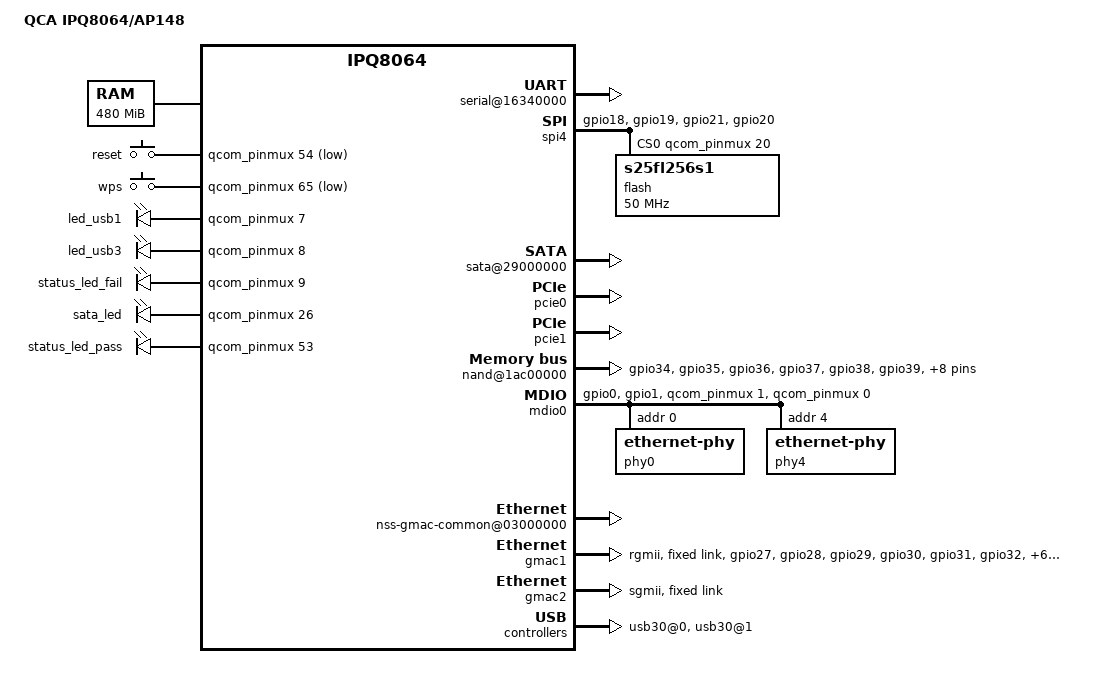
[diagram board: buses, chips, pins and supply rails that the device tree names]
/* Copyright (c) 2015,2016,2017, The Linux Foundation. All rights reserved.
 *
 * Permission to use, copy, modify, and/or distribute this software for any
 * purpose with or without fee is hereby granted, provided that the above
 * copyright notice and this permission notice appear in all copies.
 *
 * THE SOFTWARE IS PROVIDED "AS IS" AND THE AUTHOR DISCLAIMS ALL WARRANTIES
 * WITH REGARD TO THIS SOFTWARE INCLUDING ALL IMPLIED WARRANTIES OF
 * MERCHANTABILITY AND FITNESS. IN NO EVENT SHALL THE AUTHOR BE LIABLE FOR
 * ANY SPECIAL, DIRECT, INDIRECT, OR CONSEQUENTIAL DAMAGES OR ANY DAMAGES
 * WHATSOEVER RESULTING FROM LOSS OF USE, DATA OR PROFITS, WHETHER IN AN
 * ACTION OF CONTRACT, NEGLIGENCE OR OTHER TORTIOUS ACTION, ARISING OUT OF
 * OR IN CONNECTION WITH THE USE OR PERFORMANCE OF THIS SOFTWARE.
 *
 */
#include <dt-bindings/interrupt-controller/arm-gic.h>
#include <dt-bindings/interrupt-controller/irq.h>
#include <dt-bindings/input/input.h>
#include <dt-bindings/gpio/gpio.h>

/ {
	model = "QCA IPQ8064/AP148";
	compatible = "qcom,ipq8064-ap148", "qcom,ipq8064";

	aliases {
		serial0 = &uart4;
		mdio-gpio0 = &mdio0;
		/*
		 * U-Boot searches for these entries and patches
		 * 'local-mac-address'
		 */
		ethernet0 = &gmac1;
		ethernet1 = &gmac2;
	};

	chosen {
		stdout-path = "serial0:115200n8";
	};

	memory@0 {
		reg = <0x42000000 0x1e000000>;
		device_type = "memory";
	};

	reserved-memory {
		#address-cells = <1>;
		#size-cells = <1>;
		ranges;
		rsvd@41200000 {
			reg = <0x41200000 0x300000>;
			no-map;
		};
	};

	soc {
		pinmux@800000 {
			spi_pins: spi_pins {
				mux {
					pins = "gpio18", "gpio19";
					function = "gsbi5";
					drive-strength = <10>;
					bias-pull-down;
				};
				clk {
					pins = "gpio21";
					function = "gsbi5";
					drive-strength = <12>;
					bias-pull-down;
				};
				cs {
					pins = "gpio20";
					function = "gpio";
					drive-strength = <10>;
					bias-pull-up;
				};
			};
			nand_pins: nand_pins {
				mux {
					pins = "gpio34", "gpio35", "gpio36",
					       "gpio37", "gpio38", "gpio39",
					       "gpio40", "gpio41", "gpio42",
					       "gpio43", "gpio44", "gpio45",
					       "gpio46", "gpio47";
					function = "nand";
					drive-strength = <10>;
					bias-disable;
				};
				pullups {
					pins = "gpio39";
					bias-pull-up;
				};
				hold {
					pins = "gpio40", "gpio41", "gpio42",
					       "gpio43", "gpio44", "gpio45",
					       "gpio46", "gpio47";
					bias-bus-hold;
				};
			};

			mdio0_pins: mdio0_pins {
				mux {
					pins = "gpio0", "gpio1";
					function = "gpio";
					drive-strength = <8>;
					bias-disable;
				};
			};

			rgmii2_pins: rgmii2_pins {
				mux {
					pins = "gpio27", "gpio28", "gpio29",
						"gpio30", "gpio31", "gpio32",
						"gpio51", "gpio52", "gpio59",
						"gpio60", "gpio61", "gpio62";
					function = "rgmii2";
					drive-strength = <8>;
					bias-disable;
				};
			};

			leds_pins: leds_pins {
				mux {
					pins = "gpio7", "gpio8", "gpio9",
					       "gpio26", "gpio53";
					function = "gpio";
					drive-strength = <2>;
					bias-pull-down;
					output-low;
				};
			};

			buttons_pins: buttons_pins {
				mux {
					pins = "gpio54", "gpio65";
					drive-strength = <2>;
					bias-pull-up;
				};
			};

			voip_pins: voip_pins {
				mux_1 {
					pins = "gpio14", "gpio15",
						"gpio16", "gpio17";
					function = "audio_pcm";
					drive-strength = <8>;
					bias-pull-up;
				};
			};
		};

		gsbi@16300000 {
			qcom,mode = <GSBI_PROT_I2C_UART>;
			status = "ok";
			serial@16340000 {
				status = "ok";
			};
			/*
			 * The i2c device on gsbi4 should not be enabled.
			 * On ipq806x designs gsbi4 i2c is meant for exclusive
			 * RPM usage. Turning this on in kernel manifests as
			 * i2c failure for the RPM.
			 */
		};

		gsbi5: gsbi@1a200000 {
			qcom,mode = <GSBI_PROT_SPI>;
			status = "ok";

			spi4: spi@1a280000 {
				status = "ok";
				spi-max-frequency = <50000000>;

				pinctrl-0 = <&spi_pins>;
				pinctrl-names = "default";

				cs-gpios = <&qcom_pinmux 20 0>;
				dmas = <&adm_dma 6>, <&adm_dma 5>;
				dma-names = "rx", "tx";
				qcom,rx-crci = <9>;
				qcom,tx-crci = <10>;

				flash: m25p80@0 {
					compatible = "s25fl256s1";
					#address-cells = <1>;
					#size-cells = <1>;
					spi-max-frequency = <50000000>;
					reg = <0>;

					m25p,fast-read;
				};
			};
		};

		sata-phy@1b400000 {
			status = "ok";
		};

		sata@29000000 {
			status = "ok";
		};

		pcie0: pci@1b500000 {
			status = "ok";
		};

		pcie1: pci@1b700000 {
			status = "ok";
			force_gen1 = <1>;
		};

		nand@1ac00000 {
			status = "ok";

			pinctrl-0 = <&nand_pins>;
			pinctrl-names = "default";

			nand-ecc-strength = <4>;
			nand-bus-width = <8>;
		};

		mdio0: mdio {
			compatible = "virtual,mdio-gpio";
			#address-cells = <1>;
			#size-cells = <0>;
			gpios = <&qcom_pinmux 1 0 &qcom_pinmux 0 0>;
			pinctrl-0 = <&mdio0_pins>;
			pinctrl-names = "default";

			phy0: ethernet-phy@0 {
				device_type = "ethernet-phy";
				reg = <0>;
				qca,ar8327-initvals = <
					0x00004 0x7600000   /* PAD0_MODE */
					0x00008 0x1000000   /* PAD5_MODE */
					0x0000c 0x80        /* PAD6_MODE */
					0x000e4 0xaa545     /* MAC_POWER_SEL */
					0x000e0 0xc74164de  /* SGMII_CTRL */
					0x0007c 0x4e        /* PORT0_STATUS */
					0x00094 0x4e        /* PORT6_STATUS */
					>;
				link-polling-required = <0>;
				link-intr-gpio = <2>;
			};

			phy4: ethernet-phy@4 {
				device_type = "ethernet-phy";
				reg = <4>;
			};
		};

		nss0: nss@40000000 {
			compatible = "qcom,nss";
			interrupts = <GIC_SPI 213 IRQ_TYPE_LEVEL_HIGH>,
				     <GIC_SPI 232 IRQ_TYPE_LEVEL_HIGH>;
			reg = <0x36000000 0x1000 0x39000000 0x10000>;
			reg-names = "nphys", "vphys";
			clocks = <&gcc NSS_CORE_CLK>, <&gcc NSSTCM_CLK_SRC>,
				 <&gcc NSSTCM_CLK>, <&nss_fabric0_clk>,
				 <&nss_fabric1_clk>;
			clock-names = "nss-core-clk", "nss-tcm-src",
				      "nss-tcm-clk", "nss-fab0-clk",
				      "nss-fab1-clk";
			resets = <&gcc UBI32_CORE1_CLKRST_CLAMP_RESET>,
				 <&gcc UBI32_CORE1_CLAMP_RESET>,
				 <&gcc UBI32_CORE1_AHB_RESET>,
				 <&gcc UBI32_CORE1_AXI_RESET>;
			reset-names = "clkrst-clamp", "clamp", "ahb", "axi";
			qcom,id = <0>;
			qcom,num-irq = <2>;
			qcom,num-queue = <2>;
			qcom,load-addr = <0x40000000>;
			qcom,turbo-frequency = <1>;

			qcom,ipv4-enabled;
			qcom,ipv4-reasm-enabled;
			qcom,ipv6-enabled;
			qcom,ipv6-reasm-enabled;
			qcom,wlanredirect-enabled;
			qcom,tun6rd-enabled;
			qcom,l2tpv2-enabled;
			qcom,gre-enabled;
			qcom,map-t-enabled;
			qcom,tunipip6-enabled;
			qcom,pppoe-enabled;
			qcom,pptp-enabled;
			qcom,shaping-enabled;
			qcom,wlan-dataplane-offload-enabled;
		};

		nss1: nss@40800000 {
			compatible = "qcom,nss";
			interrupts = <GIC_SPI 214 IRQ_TYPE_LEVEL_HIGH>,
				     <GIC_SPI 233 IRQ_TYPE_LEVEL_HIGH>;
			reg = <0x36400000 0x1000 0x39010000 0x10000>;
			reg-names = "nphys", "vphys";
			resets = <&gcc UBI32_CORE2_CLKRST_CLAMP_RESET>,
				 <&gcc UBI32_CORE2_CLAMP_RESET>,
				 <&gcc UBI32_CORE2_AHB_RESET>,
				 <&gcc UBI32_CORE2_AXI_RESET>;
			reset-names = "clkrst-clamp", "clamp", "ahb", "axi";
			qcom,id = <1>;
			qcom,num-irq = <2>;
			qcom,num-queue = <2>;
			qcom,load-addr = <0x40800000>;
			qcom,turbo-frequency = <1>;

			qcom,crypto-enabled;
			qcom,ipsec-enabled;
		};

		nss-gmac-common@03000000 {
			compatible = "qcom,nss-gmac-common";
			reg = <0x03000000 0x0000FFFF 0x1bb00000 0x0000FFFF
			       0x00900000 0x00004000>;
			reg-names = "nss_reg_base" , "qsgmii_reg_base",
				    "clk_ctl_base";
		};

		gmac1: ethernet@37200000 {
			status = "ok";
			device_type = "network";
			compatible = "qcom,nss-gmac";
			reg = <0x37200000 0x200000>;
			interrupts = <GIC_SPI 223 IRQ_TYPE_LEVEL_HIGH>;
			phy-mode = "rgmii";
			qcom,id = <1>;
			qcom,pcs-chanid = <0>;
			qcom,phy-mdio-addr = <4>;
			qcom,poll-required = <1>;
			qcom,rgmii-delay = <1>;
			qcom,emulation = <0>;
			qcom,forced-speed = <1000>;
			qcom,forced-duplex = <1>;
			qcom,socver = <0>;
			local-mac-address = [000000000000];
			mdiobus = <&mdio0>;

			pinctrl-0 = <&rgmii2_pins>;
			pinctrl-names = "default";

			fixed-link {
				speed = <1000>;
				full-duplex;
			};
		};

		gmac2: ethernet@37400000 {
			status = "ok";
			device_type = "network";
			compatible = "qcom,nss-gmac";
			reg = <0x37400000 0x200000>;
			interrupts = <GIC_SPI 226 IRQ_TYPE_LEVEL_HIGH>;
			phy-mode = "sgmii";
			qcom,id = <2>;
			qcom,pcs-chanid = <1>;
			qcom,phy-mdio-addr = <0>;
			qcom,poll-required = <0>;
			qcom,rgmii-delay = <0>;
			qcom,forced-speed = <1000>;
			qcom,forced-duplex = <1>;
			qcom,socver = <0>;
			local-mac-address = [000000000000];
			mdiobus = <&mdio0>;

			fixed-link {
				speed = <1000>;
				full-duplex;
			};
		};

		crypto1: crypto@38000000 {
			compatible = "qcom,nss-crypto";
			reg-names = "crypto_pbase", "bam_base";
			reg = <0x38000000 0x20000>,
			    <0x38004000 0x22000>;
			resets = <&gcc CRYPTO_ENG1_RESET>,
				 <&gcc CRYPTO_AHB_RESET>;
			reset-names = "rst_eng", "rst_ahb";
			clocks = <&gcc CE5_CORE_CLK>, <&gcc CE5_A_CLK>,
				<&gcc CE5_H_CLK>;
			clock-names = "ce5_core", "ce5_aclk", "ce5_hclk";
			qcom,ee = <0>;
		};

		crypto2: crypto@38400000 {
			compatible = "qcom,nss-crypto";
			reg-names = "crypto_pbase", "bam_base";
			reg = <0x38400000 0x20000>,
			    <0x38404000 0x22000>;
			resets = <&gcc CRYPTO_ENG2_RESET>;
			reset-names = "rst_eng";
			qcom,ee = <0>;
		};

		crypto3: crypto@38800000 {
			compatible = "qcom,nss-crypto";
			reg-names = "crypto_pbase", "bam_base";
			reg = <0x38800000 0x20000>,
			    <0x38804000 0x22000>;
			resets = <&gcc CRYPTO_ENG3_RESET>;
			reset-names = "rst_eng";
			qcom,ee = <0>;
		};

		crypto4: crypto@38C00000 {
			compatible = "qcom,nss-crypto";
			reg-names = "crypto_pbase", "bam_base";
			reg = <0x38C00000 0x20000>,
			    <0x38C04000 0x22000>;
			resets = <&gcc CRYPTO_ENG4_RESET>;
			reset-names = "rst_eng";
			qcom,ee = <0>;
		};

		phy@100f8800 {
			status = "ok";
		};

		phy@100f8830 {
			status = "ok";
		};

		usb30@0 {
			status = "ok";
		};

		phy@110f8800 {
			status = "ok";
		};

		phy@110f8830 {
			status = "ok";
		};

		usb30@1 {
			status = "ok";
		};

		gpio_keys {
			compatible = "gpio-keys";
			pinctrl-0 = <&buttons_pins>;
			pinctrl-names = "default";

			button@1 {
				label = "reset";
				linux,code = <KEY_RESTART>;
				gpios = <&qcom_pinmux 54 GPIO_ACTIVE_LOW>;
				linux,input-type = <1>;
				debounce-interval = <60>;
			};
			button@2 {
				label = "wps";
				linux,code = <KEY_WPS_BUTTON>;
				gpios = <&qcom_pinmux 65 GPIO_ACTIVE_LOW>;
				linux,input-type = <1>;
				debounce-interval = <60>;
			};
		};

		leds {
			compatible = "gpio-leds";
			pinctrl-0 = <&leds_pins>;
			pinctrl-names = "default";

			led@7 {
				label = "led_usb1";
				gpios = <&qcom_pinmux 7 GPIO_ACTIVE_HIGH>;
				linux,default-trigger = "usbdev";
				default-state = "off";
			};

			led@8 {
				label = "led_usb3";
				gpios = <&qcom_pinmux 8 GPIO_ACTIVE_HIGH>;
				linux,default-trigger = "usbdev";
				default-state = "off";
			};

			led@9 {
				label = "status_led_fail";
				gpios = <&qcom_pinmux 9 GPIO_ACTIVE_HIGH>;
				default-state = "off";
			};

			led@26 {
				label = "sata_led";
				gpios = <&qcom_pinmux 26 GPIO_ACTIVE_HIGH>;
				default-state = "off";
			};

			led@53 {
				label = "status_led_pass";
				gpios = <&qcom_pinmux 53 GPIO_ACTIVE_HIGH>;
				default-state = "off";
			};
		};

		pcm: pcm@28100000 {
			compatible = "qca,ipq806x-pcm";
			pinctrl-0 = <&voip_pins>;
			pinctrl-names = "default";
		};

		lpaif: lpaif@28100000 {
			compatible = "qca,ipq806x-lpaif";
			reg = <0x28100000 0xFFFF>;
			interrupts = <0 85 0>;
			clocks = <&lcc PCM_CLK>;
			clock-names = "pcm_bit_clk";
			resets = <&lcc LCC_PCM_RESET>;
			reset-names = "lcc_pcm_reset";
		};
	};
};

&adm_dma {
	status = "ok";
};
